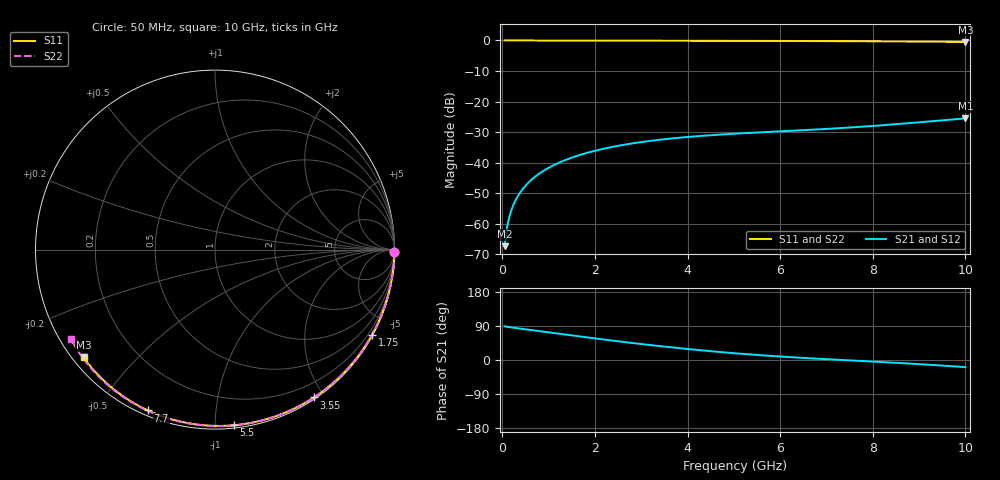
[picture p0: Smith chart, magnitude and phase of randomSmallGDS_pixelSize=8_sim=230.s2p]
! freq	dB(S11)	phase(S11)	dB(S12)	phase(S12)
!  dB(S21)	phase(S21)	dB(S22)	phase(S22)
!S-par simulation data
#  GHz  S  DB  R 50
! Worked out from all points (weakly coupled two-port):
!   200 points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, 50 MHz to 10 GHz, reference 50 ohm
!   highest |S21| = -25.52 dB at 10 GHz (marker M1); lowest = -67.4 dB at 50 MHz (marker M2)
!   lowest |S11| = -0.5 dB at 10 GHz (marker M3), VSWR 36.79, Z = 1.53 - j17.9 ohm
!   |S11| at or under -10 dB: nowhere
!   |S22| runs from -0.5 to 0.0 dB; largest |S21 - S12| = 0
!   S11 on the Smith chart (normalised r, x): 50 MHz: open; 1.75 GHz: 0.04, -3.95; 3.55 GHz: 0.02, -1.87; 5.5 GHz: 0.02, -1.11; 7.7 GHz: 0.02, -0.67; 10 GHz: 0.03, -0.36
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0.05  -0.00 -0.8  -67.39 88.8  -67.39 88.8  -0.00 -0.9
0.1  -0.00 -1.7  -61.40 87.7  -61.40 87.7  -0.00 -1.8
0.15  -0.00 -2.5  -57.91 86.8  -57.91 86.8  -0.00 -2.6
0.2  -0.00 -3.3  -55.45 85.9  -55.45 85.9  -0.00 -3.5
0.25  -0.00 -4.1  -53.54 85.0  -53.54 85.0  -0.00 -4.4
0.35  -0.00 -5.8  -50.66 83.4  -50.66 83.4  -0.00 -6.1
0.5  -0.01 -8.2  -47.61 81.0  -47.61 81.0  -0.01 -8.7
0.7  -0.01 -11.5  -44.74 77.8  -44.74 77.8  -0.01 -12.2
1  -0.02 -16.4  -41.73 72.9  -41.73 72.9  -0.02 -17.4
1.35  -0.03 -22.0  -39.25 67.2  -39.25 67.2  -0.03 -23.4
1.75  -0.04 -28.4  -37.17 60.9  -37.17 60.9  -0.04 -30.1
2.5  -0.05 -40.2  -34.52 49.3  -34.52 49.3  -0.06 -42.6
3.4  -0.07 -54.0  -32.52 36.6  -32.52 36.6  -0.08 -57.1
3.55  -0.08 -56.2  -32.27 34.7  -32.27 34.7  -0.08 -59.4
4.3  -0.10 -67.2  -31.26 25.5  -31.26 25.5  -0.10 -70.9
5.05  -0.12 -77.8  -30.52 17.5  -30.52 17.5  -0.13 -82.1
5.5  -0.14 -84.0  -30.15 13.3  -30.15 13.3  -0.15 -88.5
6.7  -0.19 -99.9  -29.23 4.1  -29.23 4.1  -0.20 -105.1
7.7  -0.26 -112.6  -28.32 -2.2  -28.32 -2.2  -0.27 -118.4
8.35  -0.31 -120.6  -27.61 -6.4  -27.61 -6.4  -0.32 -126.8
9.2  -0.39 -131.0  -26.57 -12.4  -26.57 -12.4  -0.40 -137.7
10  -0.47 -140.7  -25.52 -18.8  -25.52 -18.8  -0.49 -148.0
